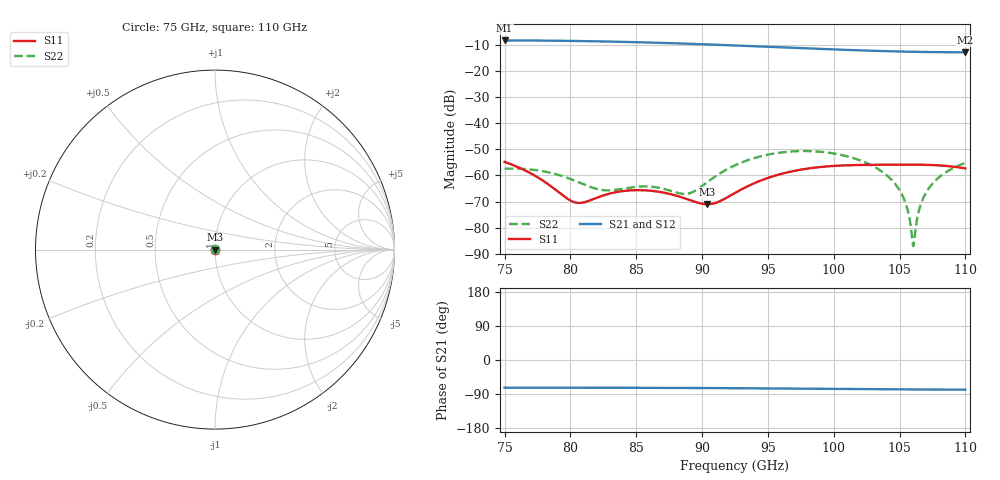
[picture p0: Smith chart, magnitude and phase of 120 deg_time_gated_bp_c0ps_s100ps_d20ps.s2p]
# Hz S RI R 50.000000
! Metas.Vna.Tools, 2.4.7724.19584
! Metas.Vna.Data, 2.4.7724.19560
! Created: UTC 2021.04.29 12:40:11
! FREQ  re:S1,1  im:S1,1  re:S2,1  im:S2,1  re:S1,2  im:S1,2  re:S2,2  im:S2,2
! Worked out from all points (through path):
!   1401 points, 75 GHz to 110 GHz, reference 50 ohm
!   highest |S21| = -8.30 dB at 75 GHz (marker M1); lowest = -12.8 dB at 110 GHz (marker M2)
!   lowest |S11| = -71.0 dB at 90.4 GHz (marker M3), VSWR 1.00, Z = 50 + j0.0102 ohm
!   |S11| at or under -10 dB: start of sweep to end of sweep
!   |S22| runs from -87.1 to -50.7 dB; largest |S21 - S12| = 0.018
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7.5e10  0.000913 -0.00157  0.1127 -0.3675  0.1058 -0.3695  -6.28e-05 0.00134
7.8e10  0.000142 -0.000755  0.1117 -0.365  0.1048 -0.367  -0.000278 0.00116
7.995e10  -0.000193 -0.000275  0.1101 -0.3608  0.103 -0.3629  -0.000439 0.000745
8.085e10  -0.000288 -8.32e-05  0.109 -0.3582  0.1019 -0.3603  -0.000491 0.000502
8.24e10  -0.00036 0.00019  0.1069 -0.3528  0.0996 -0.3549  -0.000522 6.53e-05
8.385e10  -0.000332 0.00037  0.1044 -0.3467  0.0969 -0.349  -0.000468 -0.00029
8.6675e10  -9.91e-05 0.000478  0.0985 -0.3326  0.0904 -0.335  -0.000115 -0.000572
8.8825e10  0.000129 0.00033  0.0932 -0.3202  0.0844 -0.3228  0.000337 -0.000289
9.04e10  0.000262 0.000102  0.0889 -0.3105  0.0795 -0.3131  0.000726 0.000164
9.25e10  0.000336 -0.000318  0.0828 -0.297  0.0725 -0.2999  0.00125 0.000935
9.5275e10  0.000188 -0.000926  0.0745 -0.2791  0.0627 -0.2822  0.00183 0.00182
9.835e10  -0.000292 -0.00136  0.0655 -0.2604  0.052 -0.2638  0.00207 0.00205
1.01725e11  -0.000999 -0.00123  0.0568 -0.243  0.0414 -0.2466  0.00163 0.00125
1.04175e11  -0.00142 -0.000751  0.0518 -0.2333  0.0353 -0.2371  0.000831 0.000424
1.052e11  -0.00153 -0.000504  0.0502 -0.2301  0.0333 -0.234  0.000399 0.000137
1.05875e11  -0.00157 -0.000339  0.0493 -0.2283  0.0322 -0.2322  9.43e-05 -1.02e-05
1.0605e11  -0.00158 -0.000297  0.049 -0.2279  0.0319 -0.2318  1.34e-05 -4.22e-05
1.0625e11  -0.00159 -0.000249  0.0488 -0.2274  0.0316 -0.2313  -7.98e-05 -7.53e-05
1.0675e11  -0.0016 -0.000132  0.0483 -0.2264  0.031 -0.2303  -0.000315 -0.000142
1.074e11  -0.00159 1.19e-05  0.0477 -0.2252  0.0302 -0.2292  -0.000622 -0.000191
1.085e11  -0.00151 0.000222  0.047 -0.2239  0.0293 -0.2278  -0.00113 -0.000177
1.1e11  -0.00129 0.000423  0.0466 -0.2232  0.0289 -0.2272  -0.00174 2.65e-05
